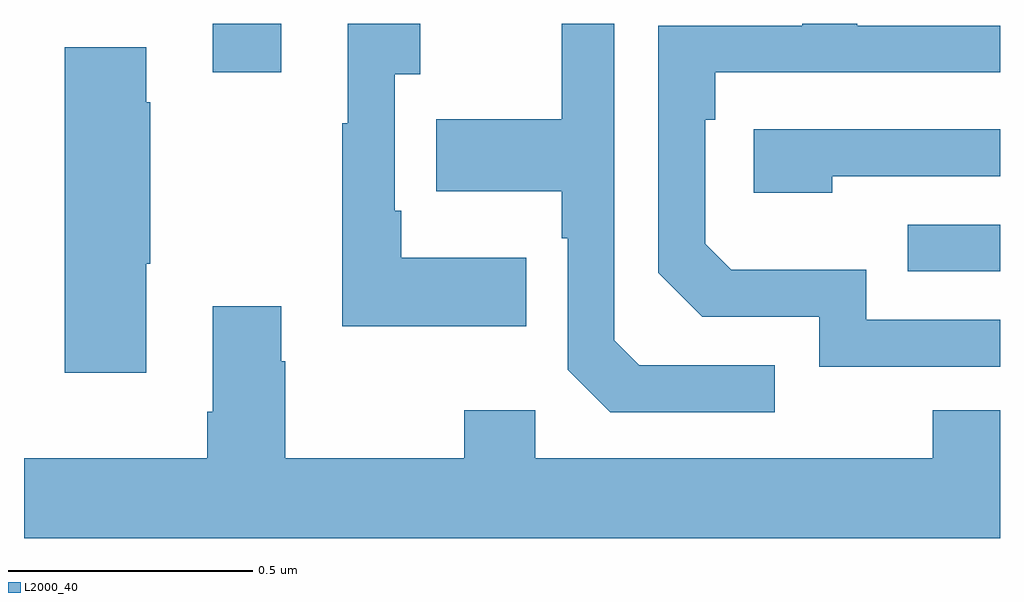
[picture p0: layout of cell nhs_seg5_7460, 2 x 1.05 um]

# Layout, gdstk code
import gdstk
lib = gdstk.Library(unit=1e-6, precision=1e-09)
def R(c, l, rs):  # rectangles x0, y0, x1, y1
    for r in rs: c.add(gdstk.rectangle(r[:2], r[2:], *l))
def P(c, l, *ps):  # polygons
    for p in ps: c.add(gdstk.Polygon(p, *l))
L2000_40 = (2000, 40)

nhs_seg5_7460 = lib.new_cell('nhs_seg5_7460')
R(nhs_seg5_7460, L2000_40, [(210.811,873.291,211,873.387), (209.387,873.699,209.527,873.799)])
P(nhs_seg5_7460, L2000_40, [(210.538,873.099),(210.261,873.099),(210.21,873.15),(210.21,873.799),(210.102,873.799),(210.102,873.603),(209.845,873.603),(209.845,873.455),(210.102,873.455),(210.102,873.359),(210.114,873.359),(210.114,873.09),(210.201,873.003),(210.538,873.003)],
  [(210.029,873.319),(209.773,873.319),(209.773,873.415),(209.76,873.415),(209.76,873.695),(209.812,873.695),(209.812,873.799),(209.663,873.799),(209.663,873.595),(209.652,873.595),(209.652,873.179),(210.029,873.179)],
  [(211,873.192),(210.726,873.192),(210.726,873.295),(210.449,873.295),(210.396,873.348),(210.396,873.602),(210.416,873.602),(210.416,873.699),(211,873.699),(211,873.795),(210.707,873.795),(210.707,873.799),(210.595,873.799),(210.595,873.795),(210.3,873.795),(210.3,873.288),(210.39,873.198),(210.63,873.198),(210.63,873.096),(211,873.096)],
  [(209.251,873.307),(209.259,873.307),(209.259,873.638),(209.251,873.638),(209.251,873.751),(209.084,873.751),(209.084,873.084),(209.251,873.084)],
  [(210.656,873.486),(211,873.486),(211,873.582),(210.495,873.582),(210.495,873.452),(210.656,873.452)],
  [(211,873.007),(210.862,873.007),(210.862,872.908),(210.048,872.908),(210.048,873.007),(209.902,873.007),(209.902,872.908),(209.535,872.908),(209.535,873.107),(209.527,873.107),(209.527,873.22),(209.387,873.22),(209.387,873.004),(209.375,873.004),(209.375,872.908),(209,872.908),(209,872.744),(211,872.744)])

lib.write_gds('nhs_seg5_7460.gds')
